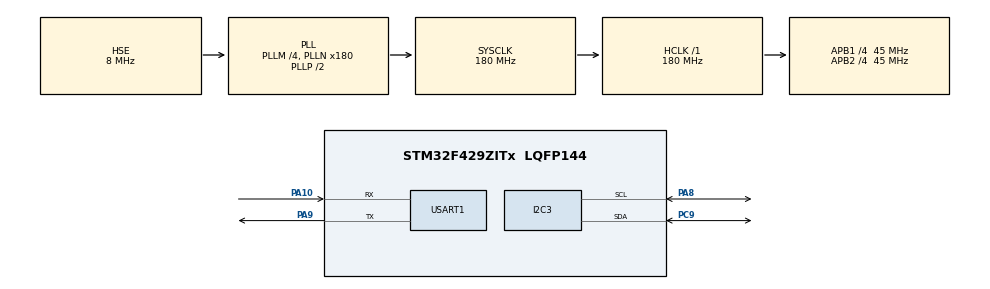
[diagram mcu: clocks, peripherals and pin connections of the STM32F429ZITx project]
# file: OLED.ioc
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I2C3.I2C_Mode=I2C_Fast
Mcu.Family=STM32F4
Mcu.Name=STM32F429ZITx
Mcu.Package=LQFP144
NVIC.PriorityGroup=NVIC_PRIORITYGROUP_4
PA10.Mode=Asynchronous
PA10.Signal=USART1_RX
PA8.Mode=I2C
PA8.Signal=I2C3_SCL
PA9.Mode=Asynchronous
PA9.Signal=USART1_TX
PC9.Mode=I2C
PC9.Signal=I2C3_SDA
PH0/OSC_IN.Mode=HSE-External-Oscillator
PH0/OSC_IN.Signal=RCC_OSC_IN
PH1/OSC_OUT.Mode=HSE-External-Oscillator
PH1/OSC_OUT.Signal=RCC_OSC_OUT
ProjectManager.HeapSize=0x200
ProjectManager.StackSize=0x400
ProjectManager.TargetToolchain=STM32CubeIDE
RCC.48MHZClocksFreq_Value=90000000
RCC.AHBFreq_Value=180000000
RCC.APB1CLKDivider=RCC_HCLK_DIV4
RCC.APB1Freq_Value=45000000
RCC.APB1TimFreq_Value=90000000
RCC.APB2CLKDivider=RCC_HCLK_DIV4
RCC.APB2Freq_Value=45000000
RCC.APB2TimFreq_Value=90000000
RCC.CortexFreq_Value=180000000
RCC.HCLKFreq_Value=180000000
RCC.HSE_VALUE=8000000
RCC.HSI_VALUE=16000000
RCC.LSE_VALUE=32768
RCC.PLLM=4
RCC.PLLN=180
RCC.PLLSourceVirtual=RCC_PLLSOURCE_HSE
RCC.SYSCLKFreq_VALUE=180000000
RCC.SYSCLKSource=RCC_SYSCLKSOURCE_PLLCLK
RCC.VCOOutputFreq_Value=360000000
USART1.VirtualMode=VM_ASYNC
board=custom

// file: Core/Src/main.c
/* USER CODE BEGIN Header */
/**
  ******************************************************************************
  * @file           : main.c
  * @brief          : Main program body
  ******************************************************************************
  * @attention
  *
  * Copyright (c) 2025 STMicroelectronics.
  * All rights reserved.
  *
  * This software is licensed under terms that can be found in the LICENSE file
  * in the root directory of this software component.
  * If no LICENSE file comes with this software, it is provided AS-IS.
  *
  ******************************************************************************
  */
/* USER CODE END Header */
#include "main.h"

/* USER CODE BEGIN Includes */
#include "SH1106.h"
#include "fonts.h"
#include <stdio.h>
/* USER CODE END Includes */

I2C_HandleTypeDef hi2c3;

UART_HandleTypeDef huart1;

void SystemClock_Config(void);
static void MX_GPIO_Init(void);
static void MX_USART1_UART_Init(void);
static void MX_I2C3_Init(void);

/* USER CODE BEGIN 0 */
char timeBuffer[20];        // buffer chứa chuỗi giờ:phút:giây
uint32_t startTick = 0;
/* USER CODE END 0 */

int main(void)
{

  /* MCU Configuration--------------------------------------------------------*/

  /* Reset of all peripherals, Initializes the Flash interface and the Systick. */
  HAL_Init();

  /* USER CODE BEGIN Init */
  SH1106_Init();
  /* USER CODE END Init */

  /* Configure the system clock */
  SystemClock_Config();

  /* Initialize all configured peripherals */
  MX_GPIO_Init();
  MX_USART1_UART_Init();
  MX_I2C3_Init();
  /* USER CODE BEGIN 2 */
  char buf[100], buf2[100];
  int X = 0, Y = 0;

  sprintf(buf,"%s","Hello");
  sprintf(buf2,"%s","Hedspi K67");
  SH1106_GotoXY(10, 10); // Dòng 1 ở (10,10)
  SH1106_Puts(buf, &Font_11x18, 1);

  SH1106_GotoXY(10, 30); // Dòng 2 ở (10,30)
  SH1106_Puts(buf2, &Font_11x18, 1);
  SH1106_UpdateScreen();
  HAL_Delay(1000);
//
  startTick = HAL_GetTick();
  /* USER CODE END 2 */

  /* Infinite loop */
  /* USER CODE BEGIN WHILE */
  while (1)
  {
	  uint32_t currentTick = HAL_GetTick();
	   uint32_t elapsedSeconds = (currentTick - startTick) / 1000;

	   uint32_t hours = elapsedSeconds / 3600;
	   uint32_t minutes = (elapsedSeconds % 3600) / 60;
	   uint32_t seconds = elapsedSeconds % 60;

	   sprintf(timeBuffer, "%02lu:%02lu:%02lu", hours, minutes, seconds);

	   SH1106_Fill(0); // Xóa màn hình
	   SH1106_GotoXY(10, 10);
	   SH1106_Puts("Hello", &Font_11x18, 1);
	   SH1106_GotoXY(10, 30);
	   SH1106_Puts("Hedspi K67", &Font_11x18, 1);
	   SH1106_GotoXY(10, 50); // Hiển thị thời gian
	   SH1106_Puts(timeBuffer, &Font_11x18, 1);

	   SH1106_UpdateScreen();
	   HAL_Delay(1000);
    /* USER CODE END WHILE */

  }
}

void SystemClock_Config(void)
{
  RCC_OscInitTypeDef RCC_OscInitStruct = {0};
  RCC_ClkInitTypeDef RCC_ClkInitStruct = {0};

  /** Configure the main internal regulator output voltage
  */
  __HAL_RCC_PWR_CLK_ENABLE();
  __HAL_PWR_VOLTAGESCALING_CONFIG(PWR_REGULATOR_VOLTAGE_SCALE1);

  /** Initializes the RCC Oscillators according to the specified parameters
  * in the RCC_OscInitTypeDef structure.
  */
  RCC_OscInitStruct.OscillatorType = RCC_OSCILLATORTYPE_HSE;
  RCC_OscInitStruct.HSEState = RCC_HSE_ON;
  RCC_OscInitStruct.PLL.PLLState = RCC_PLL_ON;
  RCC_OscInitStruct.PLL.PLLSource = RCC_PLLSOURCE_HSE;
  RCC_OscInitStruct.PLL.PLLM = 4;
  RCC_OscInitStruct.PLL.PLLN = 180;
  RCC_OscInitStruct.PLL.PLLP = RCC_PLLP_DIV2;
  RCC_OscInitStruct.PLL.PLLQ = 4;
  if (HAL_RCC_OscConfig(&RCC_OscInitStruct) != HAL_OK)
  {
    Error_Handler();
  }

  /** Activate the Over-Drive mode
  */
  if (HAL_PWREx_EnableOverDrive() != HAL_OK)
  {
    Error_Handler();
  }

  /** Initializes the CPU, AHB and APB buses clocks
  */
  RCC_ClkInitStruct.ClockType = RCC_CLOCKTYPE_HCLK|RCC_CLOCKTYPE_SYSCLK
                              |RCC_CLOCKTYPE_PCLK1|RCC_CLOCKTYPE_PCLK2;
  RCC_ClkInitStruct.SYSCLKSource = RCC_SYSCLKSOURCE_PLLCLK;
  RCC_ClkInitStruct.AHBCLKDivider = RCC_SYSCLK_DIV1;
  RCC_ClkInitStruct.APB1CLKDivider = RCC_HCLK_DIV4;
  RCC_ClkInitStruct.APB2CLKDivider = RCC_HCLK_DIV4;

  if (HAL_RCC_ClockConfig(&RCC_ClkInitStruct, FLASH_LATENCY_5) != HAL_OK)
  {
    Error_Handler();
  }
}

static void MX_I2C3_Init(void)
{

  hi2c3.Instance = I2C3;
  hi2c3.Init.ClockSpeed = 400000;
  hi2c3.Init.DutyCycle = I2C_DUTYCYCLE_2;
  hi2c3.Init.OwnAddress1 = 0;
  hi2c3.Init.AddressingMode = I2C_ADDRESSINGMODE_7BIT;
  hi2c3.Init.DualAddressMode = I2C_DUALADDRESS_DISABLE;
  hi2c3.Init.OwnAddress2 = 0;
  hi2c3.Init.GeneralCallMode = I2C_GENERALCALL_DISABLE;
  hi2c3.Init.NoStretchMode = I2C_NOSTRETCH_DISABLE;
  if (HAL_I2C_Init(&hi2c3) != HAL_OK)
  {
    Error_Handler();
  }

  /** Configure Analogue filter
  */
  if (HAL_I2CEx_ConfigAnalogFilter(&hi2c3, I2C_ANALOGFILTER_ENABLE) != HAL_OK)
  {
    Error_Handler();
  }

  /** Configure Digital filter
  */
  if (HAL_I2CEx_ConfigDigitalFilter(&hi2c3, 0) != HAL_OK)
  {
    Error_Handler();
  }

}

static void MX_USART1_UART_Init(void)
{

  huart1.Instance = USART1;
  huart1.Init.BaudRate = 115200;
  huart1.Init.WordLength = UART_WORDLENGTH_8B;
  huart1.Init.StopBits = UART_STOPBITS_1;
  huart1.Init.Parity = UART_PARITY_NONE;
  huart1.Init.Mode = UART_MODE_TX_RX;
  huart1.Init.HwFlowCtl = UART_HWCONTROL_NONE;
  huart1.Init.OverSampling = UART_OVERSAMPLING_16;
  if (HAL_UART_Init(&huart1) != HAL_OK)
  {
    Error_Handler();
  }

}

static void MX_GPIO_Init(void)
{

  /* GPIO Ports Clock Enable */
  __HAL_RCC_GPIOH_CLK_ENABLE();
  __HAL_RCC_GPIOC_CLK_ENABLE();
  __HAL_RCC_GPIOA_CLK_ENABLE();

}

void Error_Handler(void)
{
  __disable_irq();
  while (1)
  {
  }
}
